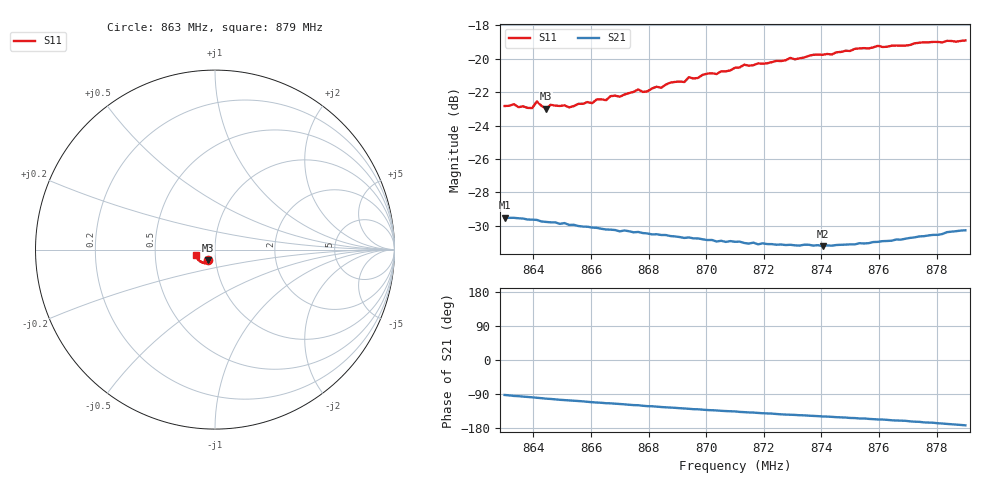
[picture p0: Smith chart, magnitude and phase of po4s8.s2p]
# HZ S RI R 50
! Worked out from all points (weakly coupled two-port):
!   101 points, 863 MHz to 879 MHz, reference 50 ohm
!   highest |S21| = -29.52 dB at 863 MHz (marker M1); lowest = -31.2 dB at 874.04 MHz (marker M2)
!   lowest |S11| = -23.0 dB at 864.44 MHz (marker M3), VSWR 1.15, Z = 46.1 - j5.58 ohm
!   |S11| at or under -10 dB: start of sweep to end of sweep
!   S12 and S22 are empty: the file has one direction only
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8.63e8  -0.0413 -0.0592  -0.00131 -0.0334  0 0  0 0
8.6332e8  -0.0408 -0.0607  -0.00281 -0.0333  0 0  0 0
8.6396e8  -0.0386 -0.0598  -0.00485 -0.0326  0 0  0 0
8.6412e8  -0.0437 -0.0604  -0.00552 -0.0325  0 0  0 0
8.6444e8  -0.0374 -0.0602  -0.00676 -0.0318  0 0  0 0
8.646e8  -0.0383 -0.0619  -0.00717 -0.0316  0 0  0 0
8.6524e8  -0.0356 -0.062  -0.00911 -0.0305  0 0  0 0
8.6572e8  -0.0356 -0.0641  -0.0103 -0.0297  0 0  0 0
8.6668e8  -0.0374 -0.0676  -0.0127 -0.0281  0 0  0 0
8.67e8  -0.0373 -0.0673  -0.0134 -0.0273  0 0  0 0
8.6764e8  -0.0407 -0.0699  -0.0148 -0.0264  0 0  0 0
8.678e8  -0.0398 -0.0689  -0.0154 -0.0259  0 0  0 0
8.6844e8  -0.0416 -0.0705  -0.0166 -0.0246  0 0  0 0
8.6876e8  -0.0432 -0.073  -0.0171 -0.024  0 0  0 0
8.6924e8  -0.0456 -0.0719  -0.0179 -0.023  0 0  0 0
8.694e8  -0.0469 -0.0745  -0.0183 -0.0228  0 0  0 0
8.6972e8  -0.0473 -0.0738  -0.0187 -0.0222  0 0  0 0
8.71e8  -0.0571 -0.0746  -0.0203 -0.0198  0 0  0 0
8.7372e8  -0.0751 -0.07  -0.0233 -0.0148  0 0  0 0
8.7404e8  -0.0773 -0.0677  -0.0236 -0.0142  0 0  0 0
8.7644e8  -0.0945 -0.0551  -0.0267 -0.0102  0 0  0 0
8.79e8  -0.1086 -0.0325  -0.0304 -0.00405  0 0  0 0
